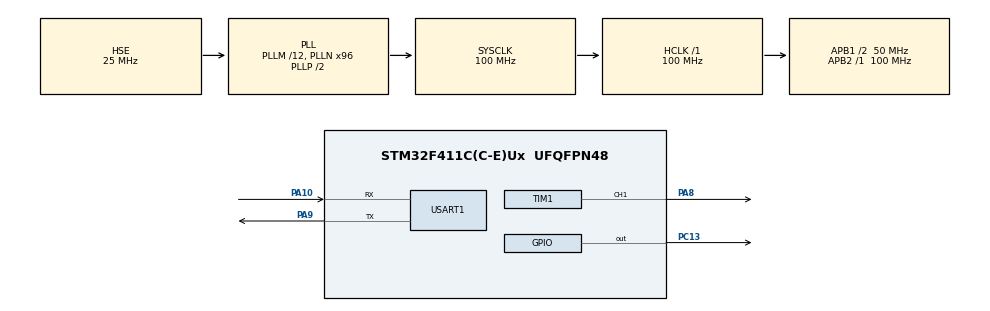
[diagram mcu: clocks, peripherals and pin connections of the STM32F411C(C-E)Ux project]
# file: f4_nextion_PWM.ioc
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Mcu.Family=STM32F4
Mcu.Name=STM32F411C(C-E)Ux
Mcu.Package=UFQFPN48
NVIC.PriorityGroup=NVIC_PRIORITYGROUP_4
NVIC.USART1_IRQn=true\:1\:0\:true\:false\:true\:true\:true\:true
PA10.Mode=Asynchronous
PA10.Signal=USART1_RX
PA13.Mode=Serial_Wire
PA13.Signal=SYS_JTMS-SWDIO
PA14.Mode=Serial_Wire
PA14.Signal=SYS_JTCK-SWCLK
PA8.Signal=S_TIM1_CH1
PA9.Mode=Asynchronous
PA9.Signal=USART1_TX
PC13-ANTI_TAMP.Signal=GPIO_Output
PH0\ -\ OSC_IN.Mode=HSE-External-Oscillator
PH0\ -\ OSC_IN.Signal=RCC_OSC_IN
PH1\ -\ OSC_OUT.Mode=HSE-External-Oscillator
PH1\ -\ OSC_OUT.Signal=RCC_OSC_OUT
ProjectManager.HeapSize=0x200
ProjectManager.StackSize=0x400
ProjectManager.TargetToolchain=MDK-ARM V5
RCC.48MHZClocksFreq_Value=50000000
RCC.AHBFreq_Value=100000000
RCC.APB1CLKDivider=RCC_HCLK_DIV2
RCC.APB1Freq_Value=50000000
RCC.APB1TimFreq_Value=100000000
RCC.APB2Freq_Value=100000000
RCC.APB2TimFreq_Value=100000000
RCC.CortexFreq_Value=100000000
RCC.HCLKFreq_Value=100000000
RCC.HSE_VALUE=25000000
RCC.HSI_VALUE=16000000
RCC.LSE_VALUE=32768
RCC.PLLM=12
RCC.PLLN=96
RCC.PLLSourceVirtual=RCC_PLLSOURCE_HSE
RCC.SYSCLKFreq_VALUE=100000000
RCC.SYSCLKSource=RCC_SYSCLKSOURCE_PLLCLK
RCC.VCOOutputFreq_Value=200000000
SH.S_TIM1_CH1.0=TIM1_CH1,PWM Generation1 CH1
TIM1.Channel-PWM\ Generation1\ CH1=TIM_CHANNEL_1
TIM1.CounterMode=TIM_COUNTERMODE_CENTERALIGNED1
TIM1.Period=50
TIM1.Prescaler=99
USART1.VirtualMode=VM_ASYNC
VP_TIM1_VS_ClockSourceINT.Mode=Internal
board=custom

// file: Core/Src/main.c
/* USER CODE BEGIN Header */
/**
  ******************************************************************************
  * @file           : main.c
  * @brief          : Main program body
  ******************************************************************************
  * @attention
  *
  * Copyright (c) 2022 STMicroelectronics.
  * All rights reserved.
  *
  * This software is licensed under terms that can be found in the LICENSE file
  * in the root directory of this software component.
  * If no LICENSE file comes with this software, it is provided AS-IS.
  *
  ******************************************************************************
  */
/* USER CODE END Header */
#include "main.h"

/* USER CODE BEGIN Includes */
#include "stdio.h"
#include "stdlib.h"
/* USER CODE END Includes */

TIM_HandleTypeDef htim1;

UART_HandleTypeDef huart1;

void SystemClock_Config(void);
static void MX_GPIO_Init(void);
static void MX_USART1_UART_Init(void);
static void MX_TIM1_Init(void);

/* USER CODE BEGIN 0 */
uint8_t rx[4];
uint8_t n ;
uint32_t number;
uint32_t main_num ;
uint8_t s ;

uint8_t cmd_end[3] = {0xFF, 0xFF, 0xFF};

void NEXTION_SendString(char *ID, char *string  ) {
	char buf[50];
	int len = sprintf(buf, "%s.txt=\"%s\"", ID, string);
	HAL_UART_Transmit(&huart1, (uint8_t*) buf, len, 100);
	HAL_UART_Transmit(&huart1, cmd_end, 3, 10);
}

void NEXTION_SendNum(char *ID, int32_t num  ) {
	uint8_t *buffer = malloc(30*	sizeof(char));
	int len = sprintf((char*)buffer, "%s.val=%ld", ID, num);
	HAL_UART_Transmit(&huart1, buffer, len, 1000);
	HAL_UART_Transmit(&huart1, cmd_end, 3, 10);
	free(buffer);
}

void HAL_UART_RxCpltCallback(UART_HandleTypeDef *huart)
{
  /* Prevent unused argument(s) compilation warning */
  //UNUSED(huart);
	if ((rx[3] >= 0x30)&&(rx[3] <= 0x39))
	{
		s = rx[3] - 48;
		number = number*10 + s ;
		s = 0;
	}
	else if (rx[3] == 0x41 )
	{
				number = number/10;
	}
	else if (rx[3] == 0x42 )
    {
    main_num = number ;
    }
	HAL_UART_Receive_IT(huart , rx , 4);
}

/* USER CODE END 0 */

int main(void)
{

  /* MCU Configuration--------------------------------------------------------*/

  /* Reset of all peripherals, Initializes the Flash interface and the Systick. */
  HAL_Init();

  /* Configure the system clock */
  SystemClock_Config();

  /* Initialize all configured peripherals */
  MX_GPIO_Init();
  MX_USART1_UART_Init();
  MX_TIM1_Init();
  /* USER CODE BEGIN 2 */
HAL_UART_Receive_IT(&huart1 , rx , 4);

number = 0 ;

HAL_TIM_PWM_Start(&htim1 , TIM_CHANNEL_1 );
  /* USER CODE END 2 */

  /* Infinite loop */
  while (1)
  {

    /* USER CODE BEGIN 3 */
		//NEXTION_SendString("t0" , "electrical");
	//	NEXTION_SendString("t1" , "the gi" );
/* n = sizeof(r)/sizeof(uint8_t);
for(uint8_t i = 0; i < n ; i++)
		{
     number = number*10 + r[i];
    }   */
		NEXTION_SendNum("n0" , number );
		HAL_Delay(30);
		NEXTION_SendNum("n1" , main_num );
		HAL_Delay(30);
		__HAL_TIM_SET_COMPARE( &htim1 , TIM_CHANNEL_1 , main_num  );
//if (state == 1)  NEXTION_SendString("t1" , "ON" );
// (state == 0)  NEXTION_SendString("t1" , "OFF" );
  }
  /* USER CODE END 3 */
}

void SystemClock_Config(void)
{
  RCC_OscInitTypeDef RCC_OscInitStruct = {0};
  RCC_ClkInitTypeDef RCC_ClkInitStruct = {0};

  /** Configure the main internal regulator output voltage
  */
  __HAL_RCC_PWR_CLK_ENABLE();
  __HAL_PWR_VOLTAGESCALING_CONFIG(PWR_REGULATOR_VOLTAGE_SCALE1);

  /** Initializes the RCC Oscillators according to the specified parameters
  * in the RCC_OscInitTypeDef structure.
  */
  RCC_OscInitStruct.OscillatorType = RCC_OSCILLATORTYPE_HSE;
  RCC_OscInitStruct.HSEState = RCC_HSE_ON;
  RCC_OscInitStruct.PLL.PLLState = RCC_PLL_ON;
  RCC_OscInitStruct.PLL.PLLSource = RCC_PLLSOURCE_HSE;
  RCC_OscInitStruct.PLL.PLLM = 12;
  RCC_OscInitStruct.PLL.PLLN = 96;
  RCC_OscInitStruct.PLL.PLLP = RCC_PLLP_DIV2;
  RCC_OscInitStruct.PLL.PLLQ = 4;
  if (HAL_RCC_OscConfig(&RCC_OscInitStruct) != HAL_OK)
  {
    Error_Handler();
  }

  /** Initializes the CPU, AHB and APB buses clocks
  */
  RCC_ClkInitStruct.ClockType = RCC_CLOCKTYPE_HCLK|RCC_CLOCKTYPE_SYSCLK
                              |RCC_CLOCKTYPE_PCLK1|RCC_CLOCKTYPE_PCLK2;
  RCC_ClkInitStruct.SYSCLKSource = RCC_SYSCLKSOURCE_PLLCLK;
  RCC_ClkInitStruct.AHBCLKDivider = RCC_SYSCLK_DIV1;
  RCC_ClkInitStruct.APB1CLKDivider = RCC_HCLK_DIV2;
  RCC_ClkInitStruct.APB2CLKDivider = RCC_HCLK_DIV1;

  if (HAL_RCC_ClockConfig(&RCC_ClkInitStruct, FLASH_LATENCY_3) != HAL_OK)
  {
    Error_Handler();
  }
}

static void MX_TIM1_Init(void)
{

  TIM_ClockConfigTypeDef sClockSourceConfig = {0};
  TIM_MasterConfigTypeDef sMasterConfig = {0};
  TIM_OC_InitTypeDef sConfigOC = {0};
  TIM_BreakDeadTimeConfigTypeDef sBreakDeadTimeConfig = {0};

  htim1.Instance = TIM1;
  htim1.Init.Prescaler = 99;
  htim1.Init.CounterMode = TIM_COUNTERMODE_CENTERALIGNED1;
  htim1.Init.Period = 50;
  htim1.Init.ClockDivision = TIM_CLOCKDIVISION_DIV1;
  htim1.Init.RepetitionCounter = 0;
  htim1.Init.AutoReloadPreload = TIM_AUTORELOAD_PRELOAD_DISABLE;
  if (HAL_TIM_Base_Init(&htim1) != HAL_OK)
  {
    Error_Handler();
  }
  sClockSourceConfig.ClockSource = TIM_CLOCKSOURCE_INTERNAL;
  if (HAL_TIM_ConfigClockSource(&htim1, &sClockSourceConfig) != HAL_OK)
  {
    Error_Handler();
  }
  if (HAL_TIM_PWM_Init(&htim1) != HAL_OK)
  {
    Error_Handler();
  }
  sMasterConfig.MasterOutputTrigger = TIM_TRGO_RESET;
  sMasterConfig.MasterSlaveMode = TIM_MASTERSLAVEMODE_DISABLE;
  if (HAL_TIMEx_MasterConfigSynchronization(&htim1, &sMasterConfig) != HAL_OK)
  {
    Error_Handler();
  }
  sConfigOC.OCMode = TIM_OCMODE_PWM1;
  sConfigOC.Pulse = 0;
  sConfigOC.OCPolarity = TIM_OCPOLARITY_HIGH;
  sConfigOC.OCNPolarity = TIM_OCNPOLARITY_HIGH;
  sConfigOC.OCFastMode = TIM_OCFAST_DISABLE;
  sConfigOC.OCIdleState = TIM_OCIDLESTATE_RESET;
  sConfigOC.OCNIdleState = TIM_OCNIDLESTATE_RESET;
  if (HAL_TIM_PWM_ConfigChannel(&htim1, &sConfigOC, TIM_CHANNEL_1) != HAL_OK)
  {
    Error_Handler();
  }
  sBreakDeadTimeConfig.OffStateRunMode = TIM_OSSR_DISABLE;
  sBreakDeadTimeConfig.OffStateIDLEMode = TIM_OSSI_DISABLE;
  sBreakDeadTimeConfig.LockLevel = TIM_LOCKLEVEL_OFF;
  sBreakDeadTimeConfig.DeadTime = 0;
  sBreakDeadTimeConfig.BreakState = TIM_BREAK_DISABLE;
  sBreakDeadTimeConfig.BreakPolarity = TIM_BREAKPOLARITY_HIGH;
  sBreakDeadTimeConfig.AutomaticOutput = TIM_AUTOMATICOUTPUT_DISABLE;
  if (HAL_TIMEx_ConfigBreakDeadTime(&htim1, &sBreakDeadTimeConfig) != HAL_OK)
  {
    Error_Handler();
  }
  HAL_TIM_MspPostInit(&htim1);

}

static void MX_USART1_UART_Init(void)
{

  huart1.Instance = USART1;
  huart1.Init.BaudRate = 115200;
  huart1.Init.WordLength = UART_WORDLENGTH_8B;
  huart1.Init.StopBits = UART_STOPBITS_1;
  huart1.Init.Parity = UART_PARITY_NONE;
  huart1.Init.Mode = UART_MODE_TX_RX;
  huart1.Init.HwFlowCtl = UART_HWCONTROL_NONE;
  huart1.Init.OverSampling = UART_OVERSAMPLING_16;
  if (HAL_UART_Init(&huart1) != HAL_OK)
  {
    Error_Handler();
  }

}

static void MX_GPIO_Init(void)
{
  GPIO_InitTypeDef GPIO_InitStruct = {0};

  /* GPIO Ports Clock Enable */
  __HAL_RCC_GPIOC_CLK_ENABLE();
  __HAL_RCC_GPIOH_CLK_ENABLE();
  __HAL_RCC_GPIOA_CLK_ENABLE();

  /*Configure GPIO pin Output Level */
  HAL_GPIO_WritePin(GPIOC, GPIO_PIN_13, GPIO_PIN_RESET);

  /*Configure GPIO pin : PC13 */
  GPIO_InitStruct.Pin = GPIO_PIN_13;
  GPIO_InitStruct.Mode = GPIO_MODE_OUTPUT_PP;
  GPIO_InitStruct.Pull = GPIO_NOPULL;
  GPIO_InitStruct.Speed = GPIO_SPEED_FREQ_LOW;
  HAL_GPIO_Init(GPIOC, &GPIO_InitStruct);

}

void Error_Handler(void)
{
  __disable_irq();
  while (1)
  {
  }
}
